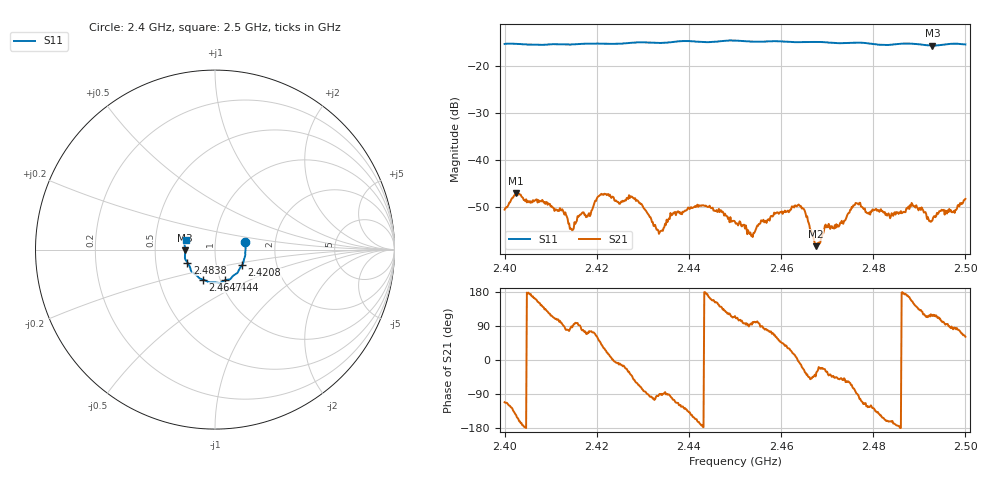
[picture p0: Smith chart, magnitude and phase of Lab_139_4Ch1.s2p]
# Hz S RI R 50
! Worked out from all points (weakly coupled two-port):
!   601 points, 2.4 GHz to 2.5 GHz, reference 50 ohm
!   highest |S21| = -47.02 dB at 2.4025 GHz (marker M1); lowest = -58.2 dB at 2.4675 GHz (marker M2)
!   lowest |S11| = -15.6 dB at 2.4928 GHz (marker M3), VSWR 1.40, Z = 35.8 - j0.358 ohm
!   |S11| at or under -10 dB: start of sweep to end of sweep
!   S12 and S22 are empty: the file has one direction only
!   S11 on the Smith chart (normalised r, x): 2.4 GHz: 1.40, +0.12; 2.4208 GHz: 1.33, -0.24; 2.444 GHz: 1.06, -0.37; 2.4647 GHz: 0.83, -0.29; 2.4838 GHz: 0.73, -0.11; 2.5 GHz: 0.72, +0.08
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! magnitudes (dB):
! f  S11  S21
! 2.4 GHz  -15.3  -50.5
! 2.4025 GHz  -15.2  -47.0
! 2.4123 GHz  -15.3  -50.6
! 2.4145 GHz  -15.4  -54.6
! 2.4167 GHz  -15.2  -51.4
! 2.4208 GHz  -15.2  -47.3
! 2.4278 GHz  -15.0  -47.9
! 2.4333 GHz  -15.0  -54.8
! 2.4365 GHz  -14.8  -51.4
! 2.444 GHz  -14.9  -49.8
! 2.45 GHz  -14.5  -53.0
! 2.4537 GHz  -14.7  -56.0
! 2.4588 GHz  -14.7  -51.3
! 2.4647 GHz  -14.9  -50.2
! 2.4667 GHz  -14.8  -55.5
! 2.4675 GHz  -14.8  -58.2
! 2.4762 GHz  -15.0  -49.0
! 2.4833 GHz  -15.5  -51.3
! 2.4838 GHz  -15.4  -51.8
! 2.4885 GHz  -15.2  -49.3
! 2.4928 GHz  -15.6  -52.7
! 2.5 GHz  -15.4  -48.2
